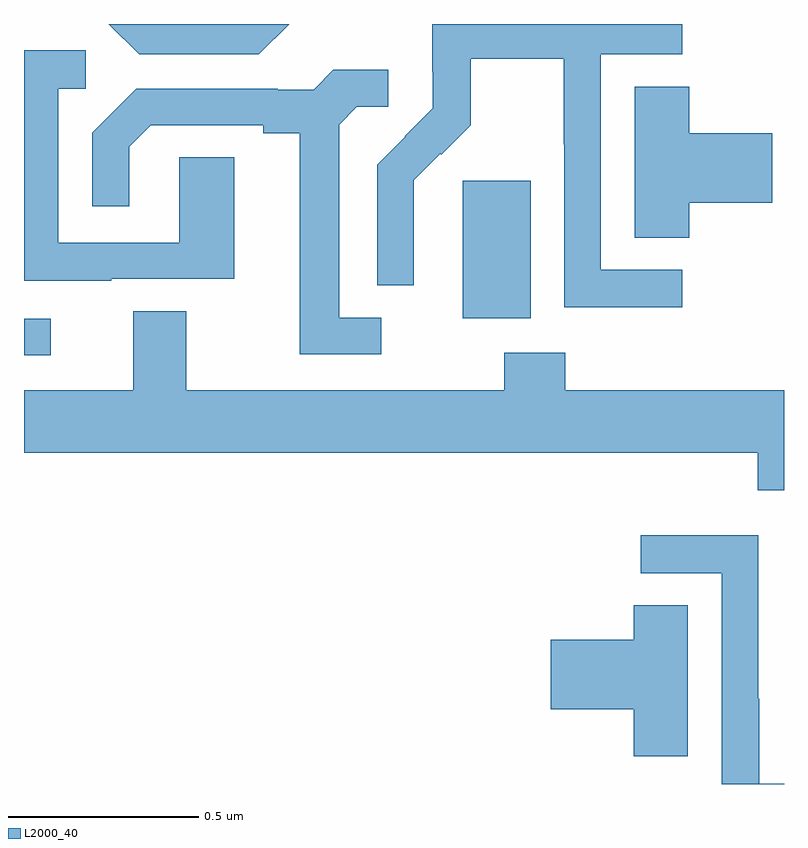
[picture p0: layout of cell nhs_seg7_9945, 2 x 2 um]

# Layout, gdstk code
import gdstk
lib = gdstk.Library(unit=1e-6, precision=1e-09)
def R(c, l, rs):  # rectangles x0, y0, x1, y1
    for r in rs: c.add(gdstk.rectangle(r[:2], r[2:], *l))
def P(c, l, *ps):  # polygons
    for p in ps: c.add(gdstk.Polygon(p, *l))
L2000_40 = (2000, 40)

nhs_seg7_9945 = lib.new_cell('nhs_seg7_9945')
R(nhs_seg7_9945, L2000_40, [(243,1078.128,243.07,1078.224), (244.154,1078.226,244.333,1078.587)])
P(nhs_seg7_9945, L2000_40, [(243.698,1079),(243.223,1079),(243.303,1078.92),(243.618,1078.92)],
  [(244.732,1078.353),(244.518,1078.353),(244.518,1078.92),(244.732,1078.92),(244.732,1079),(244.074,1079),(244.074,1078.875),(244.076,1078.875),(244.076,1078.778),(244.002,1078.704),(244.003,1078.703),(243.93,1078.63),(243.93,1078.312),(244.026,1078.312),(244.026,1078.466),(244.025,1078.466),(244.025,1078.589),(244.095,1078.659),(244.098,1078.656),(244.175,1078.733),(244.175,1078.908),(244.42,1078.908),(244.42,1078.684),(244.422,1078.684),(244.422,1078.255),(244.732,1078.255)],
  [(243.229,1078.329),(243.553,1078.329),(243.553,1078.649),(243.408,1078.649),(243.408,1078.425),(243.09,1078.425),(243.09,1078.83),(243.163,1078.83),(243.163,1078.931),(243,1078.931),(243,1078.325),(243.229,1078.325)],
  [(243.94,1078.227),(243.829,1078.227),(243.829,1078.735),(243.876,1078.782),(243.958,1078.782),(243.958,1078.879),(243.814,1078.879),(243.762,1078.827),(243.668,1078.827),(243.668,1078.83),(243.296,1078.83),(243.18,1078.714),(243.18,1078.521),(243.277,1078.521),(243.277,1078.677),(243.334,1078.734),(243.629,1078.734),(243.629,1078.712),(243.725,1078.712),(243.725,1078.131),(243.94,1078.131)],
  [(244.751,1078.529),(244.969,1078.529),(244.969,1078.712),(244.751,1078.712),(244.751,1078.835),(244.607,1078.835),(244.607,1078.438),(244.751,1078.438)],
  [(245,1078.036),(244.424,1078.036),(244.424,1078.135),(244.264,1078.135),(244.264,1078.036),(243.427,1078.036),(243.427,1078.244),(243.287,1078.244),(243.287,1078.036),(243,1078.036),(243,1077.872),(244.931,1077.872),(244.931,1077.773),(245,1077.773)],
  [(245,1077.001),(244.935,1077.001),(244.935,1077.224),(244.932,1077.224),(244.932,1077.654),(244.623,1077.654),(244.623,1077.555),(244.836,1077.555),(244.836,1077),(245,1077)],
  [(244.747,1077.47),(244.604,1077.47),(244.604,1077.38),(244.386,1077.38),(244.386,1077.197),(244.604,1077.197),(244.604,1077.073),(244.747,1077.073)])

lib.write_gds('nhs_seg7_9945.gds')
